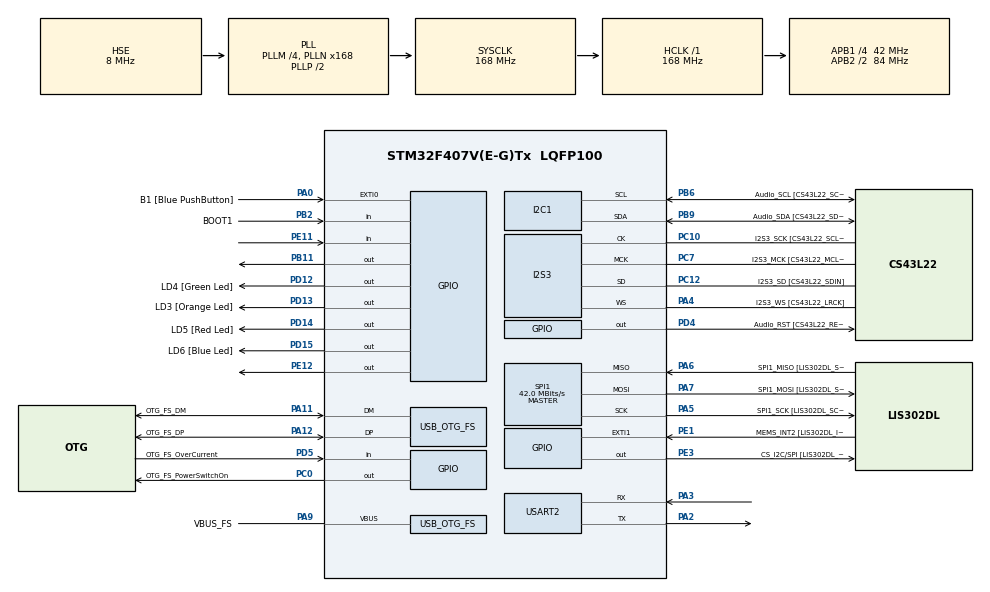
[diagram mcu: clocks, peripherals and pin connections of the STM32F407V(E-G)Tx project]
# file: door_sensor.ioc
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I2S3.AudioFreq=I2S_AUDIOFREQ_22K
I2S3.AudioFreq-Half_Duplex_Master=I2S_AUDIOFREQ_96K
I2S3.ErrorAudioFreq=-1.35 %
I2S3.ErrorAudioFreq-Half_Duplex_Master=0.8 %
I2S3.FullDuplexMode=I2S_FULLDUPLEXMODE_DISABLE
I2S3.Instance=SPI$Index
I2S3.RealAudioFreq=21.701 KHz
I2S3.RealAudioFreq-Half_Duplex_Master=96.774 KHz
I2S3.VirtualMode=I2S_MODE_MASTER
Mcu.Family=STM32F4
Mcu.Name=STM32F407V(E-G)Tx
Mcu.Package=LQFP100
NVIC.OTG_FS_IRQn=true\:0\:0\:false\:false\:true\:true
NVIC.PriorityGroup=NVIC_PRIORITYGROUP_0
NVIC.USART2_IRQn=true\:0\:0\:false\:false\:true\:true
PA0-WKUP.GPIO_Label=B1 [Blue PushButton]
PA0-WKUP.GPIO_ModeDefaultEXTI=GPIO_MODE_EVT_RISING
PA0-WKUP.GPIO_PuPd=GPIO_NOPULL
PA0-WKUP.Signal=GPXTI0
PA10.GPIO_Label=OTG_FS_ID
PA10.GPIO_Mode=GPIO_MODE_AF_PP
PA10.GPIO_PuPd=GPIO_NOPULL
PA10.GPIO_Speed=GPIO_SPEED_FREQ_LOW
PA10.Signal=USB_OTG_FS_ID
PA11.GPIO_Label=OTG_FS_DM
PA11.GPIO_Mode=GPIO_MODE_AF_PP
PA11.GPIO_PuPd=GPIO_NOPULL
PA11.GPIO_Speed=GPIO_SPEED_FREQ_LOW
PA11.Mode=Host_Only
PA11.Signal=USB_OTG_FS_DM
PA12.GPIO_Label=OTG_FS_DP
PA12.GPIO_Mode=GPIO_MODE_AF_PP
PA12.GPIO_PuPd=GPIO_NOPULL
PA12.GPIO_Speed=GPIO_SPEED_FREQ_LOW
PA12.Mode=Host_Only
PA12.Signal=USB_OTG_FS_DP
PA13.GPIO_Label=SWDIO
PA13.Mode=Serial_Wire
PA13.Signal=SYS_JTMS-SWDIO
PA14.GPIO_Label=SWCLK
PA14.Mode=Serial_Wire
PA14.Signal=SYS_JTCK-SWCLK
PA2.Mode=Asynchronous
PA2.Signal=USART2_TX
PA3.Mode=Asynchronous
PA3.Signal=USART2_RX
PA4.GPIO_Label=I2S3_WS [CS43L22_LRCK]
PA4.GPIO_Mode=GPIO_MODE_AF_PP
PA4.GPIO_PuPd=GPIO_NOPULL
PA4.GPIO_Speed=GPIO_SPEED_FREQ_LOW
PA4.Mode=Half_Duplex_Master
PA4.Signal=I2S3_WS
PA5.GPIO_Label=SPI1_SCK [LIS302DL_SCL/SPC]
PA5.GPIO_Mode=GPIO_MODE_AF_PP
PA5.GPIO_PuPd=GPIO_NOPULL
PA5.GPIO_Speed=GPIO_SPEED_FREQ_LOW
PA5.Mode=Full_Duplex_Master
PA5.Signal=SPI1_SCK
PA6.GPIO_Label=SPI1_MISO [LIS302DL_SDO]
PA6.GPIO_Mode=GPIO_MODE_AF_PP
PA6.GPIO_PuPd=GPIO_NOPULL
PA6.GPIO_Speed=GPIO_SPEED_FREQ_LOW
PA6.Mode=Full_Duplex_Master
PA6.Signal=SPI1_MISO
PA7.GPIO_Label=SPI1_MOSI [LIS302DL_SDA/SDI/SDO]
PA7.GPIO_Mode=GPIO_MODE_AF_PP
PA7.GPIO_PuPd=GPIO_NOPULL
PA7.GPIO_Speed=GPIO_SPEED_FREQ_LOW
PA7.Mode=Full_Duplex_Master
PA7.Signal=SPI1_MOSI
PA9.GPIO_Label=VBUS_FS
PA9.GPIO_Mode=GPIO_MODE_INPUT
PA9.GPIO_PuPd=GPIO_NOPULL
PA9.Mode=Activate_VBUS
PA9.Signal=USB_OTG_FS_VBUS
PB10.GPIO_Label=CLK_IN [MP45DT02_CLK]
PB10.GPIO_Mode=GPIO_MODE_AF_PP
PB10.GPIO_PuPd=GPIO_NOPULL
PB10.GPIO_Speed=GPIO_SPEED_FREQ_LOW
PB10.Signal=I2S2_CK
PB11.Signal=GPIO_Output
PB2.GPIO_Label=BOOT1
PB2.GPIO_Mode=GPIO_MODE_INPUT
PB2.GPIO_PuPd=GPIO_NOPULL
PB2.Signal=GPIO_Input
PB3.GPIO_Label=SWO
PB3.Signal=SYS_JTDO-SWO
PB6.GPIO_Label=Audio_SCL [CS43L22_SCL]
PB6.GPIO_Mode=GPIO_MODE_AF_OD
PB6.GPIO_PuPd=GPIO_NOPULL
PB6.GPIO_Speed=GPIO_SPEED_FREQ_LOW
PB6.Mode=I2C
PB6.Signal=I2C1_SCL
PB9.GPIO_Label=Audio_SDA [CS43L22_SDA]
PB9.GPIO_Mode=GPIO_MODE_AF_OD
PB9.GPIO_PuPd=GPIO_NOPULL
PB9.GPIO_Speed=GPIO_SPEED_FREQ_LOW
PB9.Mode=I2C
PB9.Signal=I2C1_SDA
PC0.GPIO_Label=OTG_FS_PowerSwitchOn
PC0.GPIO_PuPd=GPIO_NOPULL
PC0.GPIO_Speed=GPIO_SPEED_FREQ_LOW
PC0.PinState=GPIO_PIN_SET
PC0.Signal=GPIO_Output
PC10.GPIO_Label=I2S3_SCK [CS43L22_SCLK]
PC10.GPIO_Mode=GPIO_MODE_AF_PP
PC10.GPIO_PuPd=GPIO_NOPULL
PC10.GPIO_Speed=GPIO_SPEED_FREQ_LOW
PC10.Mode=Half_Duplex_Master
PC10.Signal=I2S3_CK
PC12.GPIO_Label=I2S3_SD [CS43L22_SDIN]
PC12.GPIO_Mode=GPIO_MODE_AF_PP
PC12.GPIO_PuPd=GPIO_NOPULL
PC12.GPIO_Speed=GPIO_SPEED_FREQ_LOW
PC12.Mode=Half_Duplex_Master
PC12.Signal=I2S3_SD
PC14-OSC32_IN.GPIO_Label=PC14-OSC32_IN
PC14-OSC32_IN.Mode=LSE-External-Oscillator
PC14-OSC32_IN.Signal=RCC_OSC32_IN
PC15-OSC32_OUT.GPIO_Label=PC15-OSC32_OUT
PC15-OSC32_OUT.Mode=LSE-External-Oscillator
PC15-OSC32_OUT.Signal=RCC_OSC32_OUT
PC3.GPIO_Label=PDM_OUT [MP45DT02_DOUT]
PC3.GPIO_Mode=GPIO_MODE_AF_PP
PC3.GPIO_PuPd=GPIO_NOPULL
PC3.GPIO_Speed=GPIO_SPEED_FREQ_LOW
PC3.Signal=I2S2_SD
PC7.GPIO_Label=I2S3_MCK [CS43L22_MCLK]
PC7.GPIO_Mode=GPIO_MODE_AF_PP
PC7.GPIO_PuPd=GPIO_NOPULL
PC7.GPIO_Speed=GPIO_SPEED_FREQ_LOW
PC7.Mode=Master_Clock_Activated
PC7.Signal=I2S3_MCK
PD12.GPIO_Label=LD4 [Green Led]
PD12.GPIO_PuPd=GPIO_NOPULL
PD12.GPIO_Speed=GPIO_SPEED_FREQ_LOW
PD12.Signal=GPIO_Output
PD13.GPIO_Label=LD3 [Orange Led]
PD13.GPIO_PuPd=GPIO_NOPULL
PD13.GPIO_Speed=GPIO_SPEED_FREQ_LOW
PD13.Signal=GPIO_Output
PD14.GPIO_Label=LD5 [Red Led]
PD14.GPIO_PuPd=GPIO_NOPULL
PD14.GPIO_Speed=GPIO_SPEED_FREQ_LOW
PD14.Signal=GPIO_Output
PD15.GPIO_Label=LD6 [Blue Led]
PD15.GPIO_PuPd=GPIO_NOPULL
PD15.GPIO_Speed=GPIO_SPEED_FREQ_LOW
PD15.Signal=GPIO_Output
PD4.GPIO_Label=Audio_RST [CS43L22_RESET]
PD4.GPIO_PuPd=GPIO_NOPULL
PD4.GPIO_Speed=GPIO_SPEED_FREQ_LOW
PD4.Signal=GPIO_Output
PD5.GPIO_Label=OTG_FS_OverCurrent
PD5.GPIO_Mode=GPIO_MODE_INPUT
PD5.GPIO_PuPd=GPIO_NOPULL
PD5.Signal=GPIO_Input
PE1.GPIO_Label=MEMS_INT2 [LIS302DL_INT2]
PE1.GPIO_ModeDefaultEXTI=GPIO_MODE_EVT_RISING
PE1.GPIO_PuPd=GPIO_NOPULL
PE1.Signal=GPXTI1
PE11.Signal=GPIO_Input
PE12.Signal=GPIO_Output
PE3.GPIO_Label=CS_I2C/SPI [LIS302DL_CS_I2C/SPI]
PE3.GPIO_PuPd=GPIO_NOPULL
PE3.GPIO_Speed=GPIO_SPEED_FREQ_LOW
PE3.Signal=GPIO_Output
PH0-OSC_IN.GPIO_Label=PH0-OSC_IN
PH0-OSC_IN.Mode=HSE-External-Oscillator
PH0-OSC_IN.Signal=RCC_OSC_IN
PH1-OSC_OUT.GPIO_Label=PH1-OSC_OUT
PH1-OSC_OUT.Mode=HSE-External-Oscillator
PH1-OSC_OUT.Signal=RCC_OSC_OUT
ProjectManager.HeapSize=0x200
ProjectManager.StackSize=0x400
ProjectManager.TargetToolchain=SW4STM32
RCC.48MHZClocksFreq_Value=48000000
RCC.AHBFreq_Value=168000000
RCC.APB1CLKDivider=RCC_HCLK_DIV4
RCC.APB1Freq_Value=42000000
RCC.APB1TimFreq_Value=84000000
RCC.APB2CLKDivider=RCC_HCLK_DIV2
RCC.APB2Freq_Value=84000000
RCC.APB2TimFreq_Value=168000000
RCC.CortexFreq_Value=168000000
RCC.HCLKFreq_Value=168000000
RCC.HSE_VALUE=8000000
RCC.HSI_VALUE=16000000
RCC.PLLI2SN=50
RCC.PLLM=4
RCC.PLLN=168
RCC.PLLQ=7
RCC.SYSCLKFreq_VALUE=168000000
RCC.SYSCLKSource=RCC_SYSCLKSOURCE_PLLCLK
RCC.VCOOutputFreq_Value=336000000
SPI1.BaudRatePrescaler-Full_Duplex_Master=SPI_BAUDRATEPRESCALER_2
SPI1.CalculateBaudRate=42.0 MBits/s
SPI1.CalculateBaudRate-Full_Duplex_Master=42.0 MBits/s
SPI1.Direction=SPI_DIRECTION_2LINES
SPI1.Mode=SPI_MODE_MASTER
SPI1.Mode-Full_Duplex_Master=SPI_MODE_MASTER
SPI1.VirtualType=VM_MASTER
USART2.VirtualMode=VM_ASYNC
USB_HOST.BSP.number=1
USB_HOST.USBH_HandleTypeDef-CDC_FS=hUsbHostFS
USB_HOST.VirtualModeFS=Cdc
USB_HOST0.BSP.STBoard=false
USB_HOST0.BSP.api=Unknown
USB_HOST0.BSP.i2caddr=0
USB_HOST0.BSP.i2creg=0
USB_HOST0.BSP.instance=PC0
USB_HOST0.BSP.ip=GPIO
USB_HOST0.BSP.mode=Output
USB_HOST0.BSP.name=Drive_VBUS_FS
USB_HOST0.BSP.solution=PC0
USB_OTG_FS.VirtualMode=Host_Only
USB_OTG_FS.phy_itface=HCD_PHY_EMBEDDED
VP_USB_HOST_VS_USB_HOST_CDC_FS.Mode=CDC_FS
board=STM32F4DISCOVERY

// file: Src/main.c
/**
  ******************************************************************************
  * @file           : main.c
  * @brief          : Main program body
  ******************************************************************************
  * This notice applies to any and all portions of this file
  * that are not between comment pairs USER CODE BEGIN and
  * USER CODE END. Other portions of this file, whether
  * inserted by the user or by software development tools
  * are owned by their respective copyright owners.
  *
  * Copyright (c) 2018 STMicroelectronics International N.V.
  * All rights reserved.
  *
  * Redistribution and use in source and binary forms, with or without
  * modification, are permitted, provided that the following conditions are met:
  *
  * 1. Redistribution of source code must retain the above copyright notice,
  *    this list of conditions and the following disclaimer.
  * 2. Redistributions in binary form must reproduce the above copyright notice,
  *    this list of conditions and the following disclaimer in the documentation
  *    and/or other materials provided with the distribution.
  * 3. Neither the name of STMicroelectronics nor the names of other
  *    contributors to this software may be used to endorse or promote products
  *    derived from this software without specific written permission.
  * 4. This software, including modifications and/or derivative works of this
  *    software, must execute solely and exclusively on microcontroller or
  *    microprocessor devices manufactured by or for STMicroelectronics.
  * 5. Redistribution and use of this software other than as permitted under
  *    this license is void and will automatically terminate your rights under
  *    this license.
  *
  * THIS SOFTWARE IS PROVIDED BY STMICROELECTRONICS AND CONTRIBUTORS "AS IS"
  * AND ANY EXPRESS, IMPLIED OR STATUTORY WARRANTIES, INCLUDING, BUT NOT
  * LIMITED TO, THE IMPLIED WARRANTIES OF MERCHANTABILITY, FITNESS FOR A
  * PARTICULAR PURPOSE AND NON-INFRINGEMENT OF THIRD PARTY INTELLECTUAL PROPERTY
  * RIGHTS ARE DISCLAIMED TO THE FULLEST EXTENT PERMITTED BY LAW. IN NO EVENT
  * SHALL STMICROELECTRONICS OR CONTRIBUTORS BE LIABLE FOR ANY DIRECT, INDIRECT,
  * INCIDENTAL, SPECIAL, EXEMPLARY, OR CONSEQUENTIAL DAMAGES (INCLUDING, BUT NOT
  * LIMITED TO, PROCUREMENT OF SUBSTITUTE GOODS OR SERVICES; LOSS OF USE, DATA,
  * OR PROFITS; OR BUSINESS INTERRUPTION) HOWEVER CAUSED AND ON ANY THEORY OF
  * LIABILITY, WHETHER IN CONTRACT, STRICT LIABILITY, OR TORT (INCLUDING
  * NEGLIGENCE OR OTHERWISE) ARISING IN ANY WAY OUT OF THE USE OF THIS SOFTWARE,
  * EVEN IF ADVISED OF THE POSSIBILITY OF SUCH DAMAGE.
  *
  ******************************************************************************
  */
#include "main.h"
#include "stm32f4xx_hal.h"
#include "usb_host.h"

I2C_HandleTypeDef hi2c1;

I2S_HandleTypeDef hi2s3;

SPI_HandleTypeDef hspi1;

UART_HandleTypeDef huart2;

/* USER CODE BEGIN PV */
/* Private variables ---------------------------------------------------------*/

/* USER CODE END PV */

void SystemClock_Config(void);
static void MX_GPIO_Init(void);
static void MX_I2C1_Init(void);
static void MX_I2S3_Init(void);
static void MX_SPI1_Init(void);
static void MX_USART2_UART_Init(void);
void MX_USB_HOST_Process(void);

/* USER CODE BEGIN PFP */
/* Private function prototypes -----------------------------------------------*/

/* USER CODE END PFP */

/* USER CODE BEGIN 0 */
uint8_t buf[32];
uint8_t com[32];
uint8_t signal[32];
int time=0;
int b=0;

void mDelay(uint8_t i){
	static uint32_t x=0,y=0;
	for(x=0;x<i;x++){
		for(y=0;y<1;y++);
	}

}

void HAL_UART_RxCpltCallback(UART_HandleTypeDef *huart){
	if(huart->Instance == USART2){
		HAL_UART_Receive_IT(&huart2,com,1);
		HAL_GPIO_TogglePin(GPIOD,GPIO_PIN_13); //Orange
		if(strcmp(com,"1")==0){
			HAL_GPIO_TogglePin(GPIOD,GPIO_PIN_15); //Blue
			b=1;
		}
		if(strcmp(com,"0")==0){
			HAL_GPIO_TogglePin(GPIOD,GPIO_PIN_14); //Red
			b=0;
		}
		if(strcmp(com,"2")==0){
			HAL_GPIO_WritePin(GPIOB,GPIO_PIN_11,0);
			HAL_GPIO_TogglePin(GPIOD,GPIO_PIN_12); //Green
			b=1;
		}
	}
}
/* USER CODE END 0 */

int main(void)
{

  /* MCU Configuration----------------------------------------------------------*/

  /* Reset of all peripherals, Initializes the Flash interface and the Systick. */
  HAL_Init();

  /* Configure the system clock */
  SystemClock_Config();

  /* Initialize all configured peripherals */
  MX_GPIO_Init();
  MX_I2C1_Init();
  MX_I2S3_Init();
  MX_SPI1_Init();
  MX_USB_HOST_Init();
  MX_USART2_UART_Init();
  /* USER CODE BEGIN 2 */
  HAL_UART_Init(&huart2);
  HAL_UART_Receive_IT(&huart2,com,1);
  /* USER CODE END 2 */

  /* Infinite loop */
  while (1)
  {
    MX_USB_HOST_Process();

  /* USER CODE BEGIN 3 */
    time=0;
    HAL_GPIO_WritePin(GPIOE,GPIO_PIN_12,0);
    mDelay(2);
    HAL_GPIO_WritePin(GPIOE,GPIO_PIN_12,1);
    mDelay(6);
    HAL_GPIO_WritePin(GPIOE,GPIO_PIN_12,0);
    while(!HAL_GPIO_ReadPin(GPIOE,GPIO_PIN_11));
    while(HAL_GPIO_ReadPin(GPIOE,GPIO_PIN_11)){
    	time++;
    }
    sprintf(buf,"%d\n\r",time);
    if(time > 5000 && b==1){
    	sprintf(signal,"%s","1");
    	HAL_UART_Transmit(&huart2,signal,sizeof(signal),1000);
    	HAL_GPIO_WritePin(GPIOB,GPIO_PIN_11,1);
    }

    HAL_Delay(1);
  }
  /* USER CODE END 3 */

}

void SystemClock_Config(void)
{

  RCC_OscInitTypeDef RCC_OscInitStruct;
  RCC_ClkInitTypeDef RCC_ClkInitStruct;
  RCC_PeriphCLKInitTypeDef PeriphClkInitStruct;

    /**Configure the main internal regulator output voltage
    */
  __HAL_RCC_PWR_CLK_ENABLE();

  __HAL_PWR_VOLTAGESCALING_CONFIG(PWR_REGULATOR_VOLTAGE_SCALE1);

    /**Initializes the CPU, AHB and APB busses clocks
    */
  RCC_OscInitStruct.OscillatorType = RCC_OSCILLATORTYPE_HSE;
  RCC_OscInitStruct.HSEState = RCC_HSE_ON;
  RCC_OscInitStruct.PLL.PLLState = RCC_PLL_ON;
  RCC_OscInitStruct.PLL.PLLSource = RCC_PLLSOURCE_HSE;
  RCC_OscInitStruct.PLL.PLLM = 4;
  RCC_OscInitStruct.PLL.PLLN = 168;
  RCC_OscInitStruct.PLL.PLLP = RCC_PLLP_DIV2;
  RCC_OscInitStruct.PLL.PLLQ = 7;
  if (HAL_RCC_OscConfig(&RCC_OscInitStruct) != HAL_OK)
  {
    _Error_Handler(__FILE__, __LINE__);
  }

    /**Initializes the CPU, AHB and APB busses clocks
    */
  RCC_ClkInitStruct.ClockType = RCC_CLOCKTYPE_HCLK|RCC_CLOCKTYPE_SYSCLK
                              |RCC_CLOCKTYPE_PCLK1|RCC_CLOCKTYPE_PCLK2;
  RCC_ClkInitStruct.SYSCLKSource = RCC_SYSCLKSOURCE_PLLCLK;
  RCC_ClkInitStruct.AHBCLKDivider = RCC_SYSCLK_DIV1;
  RCC_ClkInitStruct.APB1CLKDivider = RCC_HCLK_DIV4;
  RCC_ClkInitStruct.APB2CLKDivider = RCC_HCLK_DIV2;

  if (HAL_RCC_ClockConfig(&RCC_ClkInitStruct, FLASH_LATENCY_5) != HAL_OK)
  {
    _Error_Handler(__FILE__, __LINE__);
  }

  PeriphClkInitStruct.PeriphClockSelection = RCC_PERIPHCLK_I2S;
  PeriphClkInitStruct.PLLI2S.PLLI2SN = 50;
  PeriphClkInitStruct.PLLI2S.PLLI2SR = 2;
  if (HAL_RCCEx_PeriphCLKConfig(&PeriphClkInitStruct) != HAL_OK)
  {
    _Error_Handler(__FILE__, __LINE__);
  }

    /**Configure the Systick interrupt time
    */
  HAL_SYSTICK_Config(HAL_RCC_GetHCLKFreq()/1000);

    /**Configure the Systick
    */
  HAL_SYSTICK_CLKSourceConfig(SYSTICK_CLKSOURCE_HCLK);

  /* SysTick_IRQn interrupt configuration */
  HAL_NVIC_SetPriority(SysTick_IRQn, 0, 0);
}

/* I2C1 init function */
static void MX_I2C1_Init(void)
{

  hi2c1.Instance = I2C1;
  hi2c1.Init.ClockSpeed = 100000;
  hi2c1.Init.DutyCycle = I2C_DUTYCYCLE_2;
  hi2c1.Init.OwnAddress1 = 0;
  hi2c1.Init.AddressingMode = I2C_ADDRESSINGMODE_7BIT;
  hi2c1.Init.DualAddressMode = I2C_DUALADDRESS_DISABLE;
  hi2c1.Init.OwnAddress2 = 0;
  hi2c1.Init.GeneralCallMode = I2C_GENERALCALL_DISABLE;
  hi2c1.Init.NoStretchMode = I2C_NOSTRETCH_DISABLE;
  if (HAL_I2C_Init(&hi2c1) != HAL_OK)
  {
    _Error_Handler(__FILE__, __LINE__);
  }

}

/* I2S3 init function */
static void MX_I2S3_Init(void)
{

  hi2s3.Instance = SPI3;
  hi2s3.Init.Mode = I2S_MODE_MASTER_TX;
  hi2s3.Init.Standard = I2S_STANDARD_PHILIPS;
  hi2s3.Init.DataFormat = I2S_DATAFORMAT_16B;
  hi2s3.Init.MCLKOutput = I2S_MCLKOUTPUT_ENABLE;
  hi2s3.Init.AudioFreq = I2S_AUDIOFREQ_22K;
  hi2s3.Init.CPOL = I2S_CPOL_LOW;
  hi2s3.Init.ClockSource = I2S_CLOCK_PLL;
  hi2s3.Init.FullDuplexMode = I2S_FULLDUPLEXMODE_DISABLE;
  if (HAL_I2S_Init(&hi2s3) != HAL_OK)
  {
    _Error_Handler(__FILE__, __LINE__);
  }

}

/* SPI1 init function */
static void MX_SPI1_Init(void)
{

  /* SPI1 parameter configuration*/
  hspi1.Instance = SPI1;
  hspi1.Init.Mode = SPI_MODE_MASTER;
  hspi1.Init.Direction = SPI_DIRECTION_2LINES;
  hspi1.Init.DataSize = SPI_DATASIZE_8BIT;
  hspi1.Init.CLKPolarity = SPI_POLARITY_LOW;
  hspi1.Init.CLKPhase = SPI_PHASE_1EDGE;
  hspi1.Init.NSS = SPI_NSS_SOFT;
  hspi1.Init.BaudRatePrescaler = SPI_BAUDRATEPRESCALER_2;
  hspi1.Init.FirstBit = SPI_FIRSTBIT_MSB;
  hspi1.Init.TIMode = SPI_TIMODE_DISABLE;
  hspi1.Init.CRCCalculation = SPI_CRCCALCULATION_DISABLE;
  hspi1.Init.CRCPolynomial = 10;
  if (HAL_SPI_Init(&hspi1) != HAL_OK)
  {
    _Error_Handler(__FILE__, __LINE__);
  }

}

/* USART2 init function */
static void MX_USART2_UART_Init(void)
{

  huart2.Instance = USART2;
  huart2.Init.BaudRate = 115200;
  huart2.Init.WordLength = UART_WORDLENGTH_8B;
  huart2.Init.StopBits = UART_STOPBITS_1;
  huart2.Init.Parity = UART_PARITY_NONE;
  huart2.Init.Mode = UART_MODE_TX_RX;
  huart2.Init.HwFlowCtl = UART_HWCONTROL_NONE;
  huart2.Init.OverSampling = UART_OVERSAMPLING_16;
  if (HAL_UART_Init(&huart2) != HAL_OK)
  {
    _Error_Handler(__FILE__, __LINE__);
  }

}

/** Configure pins as
        * Analog
        * Input
        * Output
        * EVENT_OUT
        * EXTI
     PC3   ------> I2S2_SD
     PB10   ------> I2S2_CK
*/
static void MX_GPIO_Init(void)
{

  GPIO_InitTypeDef GPIO_InitStruct;

  /* GPIO Ports Clock Enable */
  __HAL_RCC_GPIOE_CLK_ENABLE();
  __HAL_RCC_GPIOC_CLK_ENABLE();
  __HAL_RCC_GPIOH_CLK_ENABLE();
  __HAL_RCC_GPIOA_CLK_ENABLE();
  __HAL_RCC_GPIOB_CLK_ENABLE();
  __HAL_RCC_GPIOD_CLK_ENABLE();

  /*Configure GPIO pin Output Level */
  HAL_GPIO_WritePin(GPIOE, CS_I2C_SPI_Pin|GPIO_PIN_12, GPIO_PIN_RESET);

  /*Configure GPIO pin Output Level */
  HAL_GPIO_WritePin(OTG_FS_PowerSwitchOn_GPIO_Port, OTG_FS_PowerSwitchOn_Pin, GPIO_PIN_SET);

  /*Configure GPIO pin Output Level */
  HAL_GPIO_WritePin(GPIOB, GPIO_PIN_11, GPIO_PIN_RESET);

  /*Configure GPIO pin Output Level */
  HAL_GPIO_WritePin(GPIOD, LD4_Pin|LD3_Pin|LD5_Pin|LD6_Pin
                          |Audio_RST_Pin, GPIO_PIN_RESET);

  /*Configure GPIO pins : CS_I2C_SPI_Pin PE12 */
  GPIO_InitStruct.Pin = CS_I2C_SPI_Pin|GPIO_PIN_12;
  GPIO_InitStruct.Mode = GPIO_MODE_OUTPUT_PP;
  GPIO_InitStruct.Pull = GPIO_NOPULL;
  GPIO_InitStruct.Speed = GPIO_SPEED_FREQ_LOW;
  HAL_GPIO_Init(GPIOE, &GPIO_InitStruct);

  /*Configure GPIO pin : OTG_FS_PowerSwitchOn_Pin */
  GPIO_InitStruct.Pin = OTG_FS_PowerSwitchOn_Pin;
  GPIO_InitStruct.Mode = GPIO_MODE_OUTPUT_PP;
  GPIO_InitStruct.Pull = GPIO_NOPULL;
  GPIO_InitStruct.Speed = GPIO_SPEED_FREQ_LOW;
  HAL_GPIO_Init(OTG_FS_PowerSwitchOn_GPIO_Port, &GPIO_InitStruct);

  /*Configure GPIO pin : PDM_OUT_Pin */
  GPIO_InitStruct.Pin = PDM_OUT_Pin;
  GPIO_InitStruct.Mode = GPIO_MODE_AF_PP;
  GPIO_InitStruct.Pull = GPIO_NOPULL;
  GPIO_InitStruct.Speed = GPIO_SPEED_FREQ_LOW;
  GPIO_InitStruct.Alternate = GPIO_AF5_SPI2;
  HAL_GPIO_Init(PDM_OUT_GPIO_Port, &GPIO_InitStruct);

  /*Configure GPIO pin : B1_Pin */
  GPIO_InitStruct.Pin = B1_Pin;
  GPIO_InitStruct.Mode = GPIO_MODE_EVT_RISING;
  GPIO_InitStruct.Pull = GPIO_NOPULL;
  HAL_GPIO_Init(B1_GPIO_Port, &GPIO_InitStruct);

  /*Configure GPIO pin : BOOT1_Pin */
  GPIO_InitStruct.Pin = BOOT1_Pin;
  GPIO_InitStruct.Mode = GPIO_MODE_INPUT;
  GPIO_InitStruct.Pull = GPIO_NOPULL;
  HAL_GPIO_Init(BOOT1_GPIO_Port, &GPIO_InitStruct);

  /*Configure GPIO pin : PE11 */
  GPIO_InitStruct.Pin = GPIO_PIN_11;
  GPIO_InitStruct.Mode = GPIO_MODE_INPUT;
  GPIO_InitStruct.Pull = GPIO_NOPULL;
  HAL_GPIO_Init(GPIOE, &GPIO_InitStruct);

  /*Configure GPIO pin : CLK_IN_Pin */
  GPIO_InitStruct.Pin = CLK_IN_Pin;
  GPIO_InitStruct.Mode = GPIO_MODE_AF_PP;
  GPIO_InitStruct.Pull = GPIO_NOPULL;
  GPIO_InitStruct.Speed = GPIO_SPEED_FREQ_LOW;
  GPIO_InitStruct.Alternate = GPIO_AF5_SPI2;
  HAL_GPIO_Init(CLK_IN_GPIO_Port, &GPIO_InitStruct);

  /*Configure GPIO pin : PB11 */
  GPIO_InitStruct.Pin = GPIO_PIN_11;
  GPIO_InitStruct.Mode = GPIO_MODE_OUTPUT_PP;
  GPIO_InitStruct.Pull = GPIO_NOPULL;
  GPIO_InitStruct.Speed = GPIO_SPEED_FREQ_LOW;
  HAL_GPIO_Init(GPIOB, &GPIO_InitStruct);

  /*Configure GPIO pins : LD4_Pin LD3_Pin LD5_Pin LD6_Pin
                           Audio_RST_Pin */
  GPIO_InitStruct.Pin = LD4_Pin|LD3_Pin|LD5_Pin|LD6_Pin
                          |Audio_RST_Pin;
  GPIO_InitStruct.Mode = GPIO_MODE_OUTPUT_PP;
  GPIO_InitStruct.Pull = GPIO_NOPULL;
  GPIO_InitStruct.Speed = GPIO_SPEED_FREQ_LOW;
  HAL_GPIO_Init(GPIOD, &GPIO_InitStruct);

  /*Configure GPIO pin : OTG_FS_OverCurrent_Pin */
  GPIO_InitStruct.Pin = OTG_FS_OverCurrent_Pin;
  GPIO_InitStruct.Mode = GPIO_MODE_INPUT;
  GPIO_InitStruct.Pull = GPIO_NOPULL;
  HAL_GPIO_Init(OTG_FS_OverCurrent_GPIO_Port, &GPIO_InitStruct);

  /*Configure GPIO pin : MEMS_INT2_Pin */
  GPIO_InitStruct.Pin = MEMS_INT2_Pin;
  GPIO_InitStruct.Mode = GPIO_MODE_EVT_RISING;
  GPIO_InitStruct.Pull = GPIO_NOPULL;
  HAL_GPIO_Init(MEMS_INT2_GPIO_Port, &GPIO_InitStruct);

}

void _Error_Handler(char *file, int line)
{
  while(1)
  {
  }
}

/************************ (C) COPYRIGHT STMicroelectronics *****END OF FILE****/
